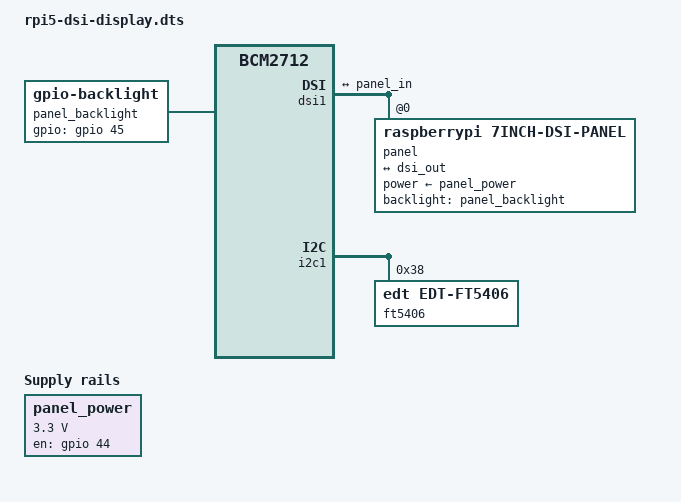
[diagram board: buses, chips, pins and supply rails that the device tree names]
// SPDX-License-Identifier: (GPL-2.0 OR MIT)
/*
 * Device Tree Overlay for Raspberry Pi Official 7" DSI Touchscreen
 * on Raspberry Pi 5 with Android
 */

/dts-v1/;
/plugin/;

/ {
    compatible = "raspberrypi,5-model-b", "brcm,bcm2712";

    fragment@0 {
        target = <&dsi1>;
        __overlay__ {
            status = "okay";
            #address-cells = <1>;
            #size-cells = <0>;

            port {
                dsi_out: endpoint {
                    remote-endpoint = <&panel_in>;
                };
            };

            panel: panel@0 {
                compatible = "raspberrypi,7inch-dsi-panel";
                reg = <0>;
                power-supply = <&panel_power>;
                backlight = <&panel_backlight>;

                port {
                    panel_in: endpoint {
                        remote-endpoint = <&dsi_out>;
                    };
                };
            };
        };
    };

    fragment@1 {
        target = <&i2c1>;
        __overlay__ {
            #address-cells = <1>;
            #size-cells = <0>;
            status = "okay";

            /* Touchscreen controller */
            ft5406: ft5406@38 {
                compatible = "edt,edt-ft5406";
                reg = <0x38>;
                touchscreen-size-x = <800>;
                touchscreen-size-y = <480>;
            };
        };
    };

    fragment@2 {
        target-path = "/";
        __overlay__ {
            panel_power: panel-power {
                compatible = "regulator-fixed";
                regulator-name = "panel-power";
                regulator-min-microvolt = <3300000>;
                regulator-max-microvolt = <3300000>;
                gpio = <&gpio 44 GPIO_ACTIVE_HIGH>;
                enable-active-high;
            };

            panel_backlight: panel-backlight {
                compatible = "gpio-backlight";
                gpios = <&gpio 45 GPIO_ACTIVE_HIGH>;
                default-on;
            };
        };
    };
};
